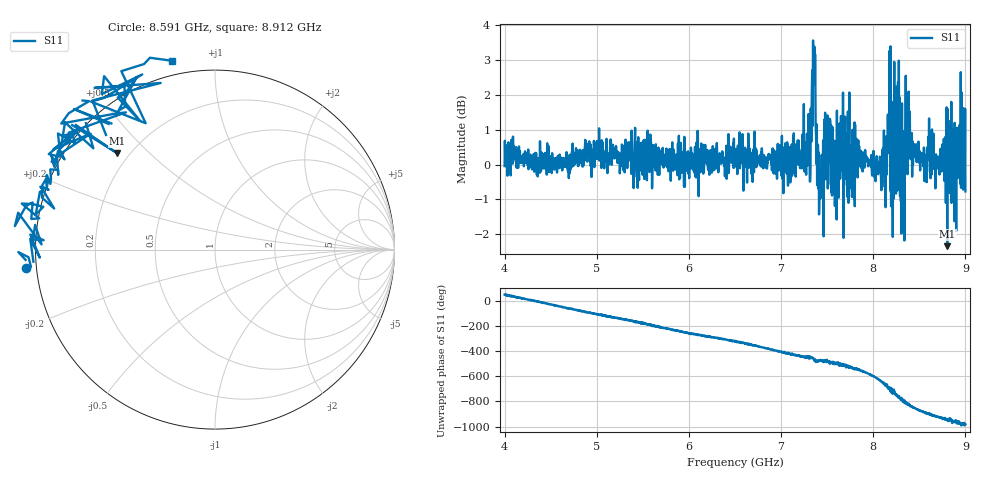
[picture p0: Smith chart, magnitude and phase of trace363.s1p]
! Created with skrf 1.8.0 (http://scikit-rf.org).
# Hz S RI R 50.0
!freq ReS11 ImS11
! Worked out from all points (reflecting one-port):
!   1601 points, 4 GHz to 9 GHz, reference 50 ohm
!   lowest |S11| = -2.3 dB at 8.803 GHz (marker M1), VSWR 7.48, Z = 7.78 + j20.1 ohm
!   phase of S11 starts at 53 deg and turns -1035 deg over the sweep
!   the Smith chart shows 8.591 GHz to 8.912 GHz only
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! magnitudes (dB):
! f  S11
! 4 GHz  0.0
! 4.625 GHz  -0.2
! 4.897 GHz  0.1
! 5.25 GHz  -0.3
! 5.875 GHz  -0.3
! 6.5 GHz  0.2
! 7.125 GHz  0.4
! 7.294 GHz  0.0
! 7.347 GHz  3.5
! 7.369 GHz  3.2
! 7.4 GHz  0.6
! 7.428 GHz  -0.2
! 7.512 GHz  1.1
! 7.609 GHz  -0.4
! 7.669 GHz  1.2
! 7.75 GHz  -0.3
! 8.109 GHz  0.5
! 8.162 GHz  0.5
! 8.216 GHz  1.3
! 8.262 GHz  -0.7
! 8.316 GHz  -0.1
! 8.334 GHz  0.4
! 8.375 GHz  0.7
! 8.556 GHz  -0.5
! 8.803 GHz  -2.3
! 8.875 GHz  0.1
! 8.959 GHz  2.1
! 9 GHz  -0.8
